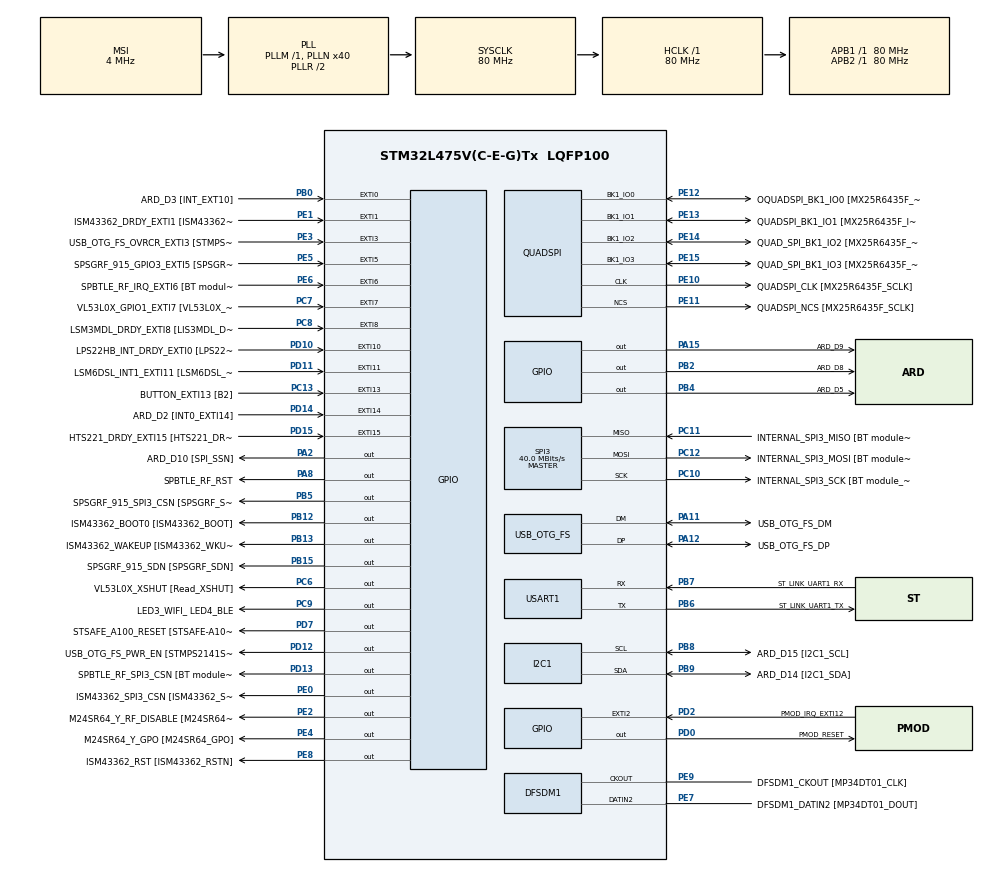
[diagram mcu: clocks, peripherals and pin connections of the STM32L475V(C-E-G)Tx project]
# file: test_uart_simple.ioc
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I2C1.Timing=0x10D19CE4
Mcu.Family=STM32L4
Mcu.Name=STM32L475V(C-E-G)Tx
Mcu.Package=LQFP100
NVIC.EXTI15_10_IRQn=true\:0\:0\:false\:false\:true\:true\:true\:true
NVIC.EXTI9_5_IRQn=true\:0\:0\:false\:false\:true\:true\:true\:true
NVIC.PriorityGroup=NVIC_PRIORITYGROUP_4
PA0.GPIO_Label=ARD_D1 [UART4_TX]
PA0.Signal=UART4_TX
PA1.GPIO_Label=ARD_D0 [UART4_RX]
PA1.Signal=UART4_RX
PA10.GPIO_Label=USB_OTG_FS_ID
PA10.Signal=USB_OTG_FS_ID
PA11.GPIO_Label=USB_OTG_FS_DM
PA11.Mode=Device_Only
PA11.Signal=USB_OTG_FS_DM
PA12.GPIO_Label=USB_OTG_FS_DP
PA12.Mode=Device_Only
PA12.Signal=USB_OTG_FS_DP
PA13\ (JTMS-SWDIO).GPIO_Label=SYS_JTMS_SWDIO
PA13\ (JTMS-SWDIO).Mode=Serial_Wire
PA13\ (JTMS-SWDIO).Signal=SYS_JTMS-SWDIO
PA14\ (JTCK-SWCLK).GPIO_Label=SYS_JTCK_SWCLK
PA14\ (JTCK-SWCLK).Mode=Serial_Wire
PA14\ (JTCK-SWCLK).Signal=SYS_JTCK-SWCLK
PA15\ (JTDI).GPIO_Label=ARD_D9
PA15\ (JTDI).Signal=GPIO_Output
PA2.GPIO_Label=ARD_D10 [SPI_SSN]
PA2.Signal=GPIO_Output
PA3.GPIO_Label=ARD_D4
PA3.Signal=S_TIM2_CH4
PA4.GPIO_Label=ARD_D7
PA4.Signal=ADCx_IN9
PA5.GPIO_Label=ARD_D13 [SPI1_SCK]
PA5.Signal=SPI1_SCK
PA6.GPIO_Label=ARD_D12 [SPI1_MISO]
PA6.Signal=SPI1_MISO
PA7.GPIO_Label=ARD_D11 [SPI1_MOSI]
PA7.Signal=SPI1_MOSI
PA8.GPIO_Label=SPBTLE_RF_RST
PA8.Signal=GPIO_Output
PA9.GPIO_Label=USB_OTG_FS_VBUS [STMPS2141STR_OUT]
PA9.Signal=USB_OTG_FS_VBUS
PB0.GPIO_Label=ARD_D3 [INT_EXT10]
PB0.Signal=GPXTI0
PB1.GPIO_Label=ARD_D6 [ADC1_IN6]
PB1.Signal=ADCx_IN16
PB10.GPIO_Label=INTERNAL_I2C2_SCL [VL53L0X_SCL]
PB10.GPIO_Pu=GPIO_PULLUP
PB10.Signal=I2C2_SCL
PB11.GPIO_Label=INTERNAL_I2C2_SDA [VL53L0X_SDA]
PB11.GPIO_Pu=GPIO_PULLUP
PB11.Signal=I2C2_SDA
PB12.GPIO_Label=ISM43362_BOOT0 [ISM43362_BOOT]
PB12.Signal=GPIO_Output
PB13.GPIO_Label=ISM43362_WAKEUP [ISM43362_WKUP]
PB13.Signal=GPIO_Output
PB15.GPIO_Label=SPSGRF_915_SDN [SPSGRF_SDN]
PB15.Signal=GPIO_Output
PB2.GPIO_Label=ARD_D8
PB2.Signal=GPIO_Output
PB3\ (JTDO-TRACESWO).GPIO_Label=SYS_JTD0_SWO
PB3\ (JTDO-TRACESWO).Signal=SYS_JTDO-SWO
PB4\ (NJTRST).GPIO_Label=ARD_D5
PB4\ (NJTRST).Signal=GPIO_Output
PB5.GPIO_Label=SPSGRF_915_SPI3_CSN [SPSGRF_SPI_CS]
PB5.PinState=GPIO_PIN_SET
PB5.Signal=GPIO_Output
PB6.GPIO_Label=ST_LINK_UART1_TX
PB6.Mode=Asynchronous
PB6.Signal=USART1_TX
PB7.GPIO_Label=ST_LINK_UART1_RX
PB7.Mode=Asynchronous
PB7.Signal=USART1_RX
PB8.GPIO_Label=ARD_D15 [I2C1_SCL]
PB8.Mode=I2C
PB8.Signal=I2C1_SCL
PB9.GPIO_Label=ARD_D14 [I2C1_SDA]
PB9.Mode=I2C
PB9.Signal=I2C1_SDA
PC0.GPIO_Label=ARD_A5 [ADC]
PC0.Signal=ADCx_IN1
PC1.GPIO_Label=ARD_A4 [ADC]
PC1.Signal=ADCx_IN2
PC10.GPIO_Label=INTERNAL_SPI3_SCK [BT module_SPI_SCLK] [ISM43362_SCK]
PC10.Mode=Full_Duplex_Master
PC10.Signal=SPI3_SCK
PC11.GPIO_Label=INTERNAL_SPI3_MISO [BT module_SPI_MISO] [ISM43362_MISO]
PC11.Mode=Full_Duplex_Master
PC11.Signal=SPI3_MISO
PC12.GPIO_Label=INTERNAL_SPI3_MOSI [BT module_SPI_MOSI] [ISM43362_MOSI]
PC12.Mode=Full_Duplex_Master
PC12.Signal=SPI3_MOSI
PC13.GPIO_Label=BUTTON_EXTI13 [B2]
PC13.GPIO_ModeDefaultEXTI=GPIO_MODE_IT_FALLING
PC13.Signal=GPXTI13
PC14-OSC32_IN\ (PC14).Mode=LSE-External-Oscillator
PC14-OSC32_IN\ (PC14).Signal=RCC_OSC32_IN
PC15-OSC32_OUT\ (PC15).Mode=LSE-External-Oscillator
PC15-OSC32_OUT\ (PC15).Signal=RCC_OSC32_OUT
PC2.GPIO_Label=ARD_A3 [ADC]
PC2.Signal=ADCx_IN3
PC3.GPIO_Label=ARD_A2 [ADC]
PC3.Signal=ADCx_IN4
PC4.GPIO_Label=ARD_A1 [ADC]
PC4.Signal=ADCx_IN13
PC5.GPIO_Label=ARD_A0 [ADC]
PC5.Signal=ADCx_IN14
PC6.GPIO_Label=VL53L0X_XSHUT [Read_XSHUT]
PC6.Signal=GPIO_Output
PC7.GPIO_Label=VL53L0X_GPIO1_EXTI7 [VL53L0X_GPIO1]
PC7.Signal=GPXTI7
PC8.GPIO_Label=LSM3MDL_DRDY_EXTI8 [LIS3MDL_DRDY]
PC8.Signal=GPXTI8
PC9.GPIO_Label=LED3_WIFI_ LED4_BLE
PC9.Signal=GPIO_Output
PD0.GPIO_Label=PMOD_RESET
PD0.Signal=GPIO_Output
PD1.GPIO_Label=PMOD_SPI2_SCK
PD1.Signal=SPI2_SCK
PD10.GPIO_Label=LPS22HB_INT_DRDY_EXTI0 [LPS22HB_INT_DRDY] 
PD10.Signal=GPXTI10
PD11.GPIO_Label=LSM6DSL_INT1_EXTI11 [LSM6DSL_INT1]
PD11.Signal=GPXTI11
PD12.GPIO_Label=USB_OTG_FS_PWR_EN [STMPS2141STR_EN]
PD12.Signal=GPIO_Output
PD13.GPIO_Label=SPBTLE_RF_SPI3_CSN [BT module_SPI_CS]
PD13.PinState=GPIO_PIN_SET
PD13.Signal=GPIO_Output
PD14.GPIO_Label=ARD_D2 [INT0_EXTI14]
PD14.Signal=GPXTI14
PD15.GPIO_Label=HTS221_DRDY_EXTI15 [HTS221_DRDY]
PD15.Signal=GPXTI15
PD2.GPIO_Label=PMOD_IRQ_EXTI12
PD2.Signal=GPXTI2
PD3.GPIO_Label=PMOD_UART2_CTS
PD3.Signal=USART2_CTS
PD4.GPIO_Label=PMOD_UART2_RTS
PD4.Signal=USART2_RTS
PD5.GPIO_Label=PMOD_UART2_TX
PD5.Signal=USART2_TX
PD6.GPIO_Label=PMOD_UART2_RX
PD6.Signal=USART2_RX
PD7.GPIO_Label=STSAFE_A100_RESET [STSAFE-A100_RESET]
PD7.Signal=GPIO_Output
PD8.GPIO_Label=INTERNAL_UART3_TX [ISM43362_RX]
PD8.Signal=USART3_TX
PD9.GPIO_Label=INTERNAL_UART3_RX [ISM43362_TX]
PD9.Signal=USART3_RX
PE0.GPIO_Label=ISM43362_SPI3_CSN [ISM43362_SSN]
PE0.PinState=GPIO_PIN_SET
PE0.Signal=GPIO_Output
PE1.GPIO_Label=ISM43362_DRDY_EXTI1 [ISM43362_DATARDY]
PE1.Signal=GPXTI1
PE10.GPIO_Label=QUADSPI_CLK [MX25R6435F_SCLK]
PE10.Mode=Single Bank
PE10.Signal=QUADSPI_CLK
PE11.GPIO_Label=QUADSPI_NCS [MX25R6435F_SCLK]
PE11.Mode=Single Bank
PE11.Signal=QUADSPI_NCS
PE12.GPIO_Label=OQUADSPI_BK1_IO0 [MX25R6435F_IO0]
PE12.Mode=Single Bank
PE12.Signal=QUADSPI_BK1_IO0
PE13.GPIO_Label=QUADSPI_BK1_IO1 [MX25R6435F_IO1]
PE13.Mode=Single Bank
PE13.Signal=QUADSPI_BK1_IO1
PE14.GPIO_Label=QUAD_SPI_BK1_IO2 [MX25R6435F_IO2]
PE14.Mode=Single Bank
PE14.Signal=QUADSPI_BK1_IO2
PE15.GPIO_Label=QUAD_SPI_BK1_IO3 [MX25R6435F_IO3]
PE15.Mode=Single Bank
PE15.Signal=QUADSPI_BK1_IO3
PE2.GPIO_Label=M24SR64_Y_RF_DISABLE [M24SR64_RFDIS]
PE2.Signal=GPIO_Output
PE3.GPIO_Label=USB_OTG_FS_OVRCR_EXTI3 [STMPS2141STR_FAULT]
PE3.Signal=GPXTI3
PE4.GPIO_Label=M24SR64_Y_GPO [M24SR64_GPO]
PE4.Signal=GPIO_Output
PE5.GPIO_Label=SPSGRF_915_GPIO3_EXTI5 [SPSGRF_GPIO_3]
PE5.Signal=GPXTI5
PE6.GPIO_Label=SPBTLE_RF_IRQ_EXTI6 [BT module_SPI_IRQ]
PE6.Signal=GPXTI6
PE7.GPIO_Label=DFSDM1_DATIN2 [MP34DT01_DOUT]
PE7.Signal=S_DATAIN2DFSDM1
PE8.GPIO_Label=ISM43362_RST [ISM43362_RSTN]
PE8.Signal=GPIO_Output
PE9.GPIO_Label=DFSDM1_CKOUT [MP34DT01_CLK]
PE9.Signal=S_CKOUTDFSDM1
ProjectManager.HeapSize=0x200
ProjectManager.StackSize=0x400
ProjectManager.TargetToolchain=STM32CubeIDE
QUADSPI.ClockPrescaler=2
QUADSPI.FifoThreshold=4
QUADSPI.FlashSize=23
QUADSPI.SampleShifting=QSPI_SAMPLE_SHIFTING_HALFCYCLE
RCC.ADCFreq_Value=48000000
RCC.AHBFreq_Value=80000000
RCC.APB1Freq_Value=80000000
RCC.APB1TimFreq_Value=80000000
RCC.APB2Freq_Value=80000000
RCC.APB2TimFreq_Value=80000000
RCC.CortexFreq_Value=80000000
RCC.HCLKFreq_Value=80000000
RCC.HSE_VALUE=8000000
RCC.HSI_VALUE=16000000
RCC.MSI_VALUE=4000000
RCC.PLLN=40
RCC.PLLSAI1N=24
RCC.SYSCLKFreq_VALUE=80000000
RCC.SYSCLKSource=RCC_SYSCLKSOURCE_PLLCLK
RCC.USBFreq_Value=48000000
RCC.VCOOutputFreq_Value=160000000
SH.ADCx_IN1.0=ADC1_IN1
SH.ADCx_IN13.0=ADC1_IN13
SH.ADCx_IN14.0=ADC1_IN14
SH.ADCx_IN16.0=ADC1_IN16
SH.ADCx_IN2.0=ADC1_IN2
SH.ADCx_IN3.0=ADC1_IN3
SH.ADCx_IN4.0=ADC1_IN4
SH.ADCx_IN9.0=ADC1_IN9
SH.S_CKOUTDFSDM1.0=DFSDM1_CKOUT,CKOUT
SH.S_CKOUTDFSDM1.1=DFSDM1_CKOUT,PDM_SPI_Input_from_ch12_and_Internal_Clock
SH.S_DATAIN2DFSDM1.0=DFSDM1_DATIN2,PDM_SPI_Input_from_ch12_and_Internal_Clock
SH.S_TIM2_CH4.0=TIM2_CH4
SPI3.CalculateBaudRate=40.0 MBits/s
SPI3.Direction=SPI_DIRECTION_2LINES
SPI3.Mode=SPI_MODE_MASTER
SPI3.VirtualType=VM_MASTER
USART1.VirtualMode-Asynchronous=VM_ASYNC
USB_OTG_FS.VirtualMode=Device_Only
board=B-L475E-IOT01A2

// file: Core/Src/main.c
/* USER CODE BEGIN Header */
/**
  ******************************************************************************
  * @file           : main.c
  * @brief          : Main program body
  ******************************************************************************
  * @attention
  *
  * Copyright (c) 2026 STMicroelectronics.
  * All rights reserved.
  *
  * This software is licensed under terms that can be found in the LICENSE file
  * in the root directory of this software component.
  * If no LICENSE file comes with this software, it is provided AS-IS.
  *
  ******************************************************************************
  */
/* USER CODE END Header */
#include "main.h"

/* USER CODE BEGIN Includes */
#include <string.h>
#include <stdio.h>

// Drivers des capteurs (à inclure depuis BSP)
#include "stm32l475e_iot01.h"
#include "stm32l475e_iot01_tsensor.h"
#include "stm32l475e_iot01_hsensor.h"
#include "stm32l475e_iot01_psensor.h"
/* USER CODE END Includes */

DFSDM_Channel_HandleTypeDef hdfsdm1_channel1;

I2C_HandleTypeDef hi2c1;

QSPI_HandleTypeDef hqspi;

SPI_HandleTypeDef hspi3;

UART_HandleTypeDef huart1;

PCD_HandleTypeDef hpcd_USB_OTG_FS;

/* USER CODE BEGIN PV */
char uart_buffer[200];
/* USER CODE END PV */

void SystemClock_Config(void);
static void MX_GPIO_Init(void);
static void MX_DFSDM1_Init(void);
static void MX_QUADSPI_Init(void);
static void MX_SPI3_Init(void);
static void MX_USB_OTG_FS_PCD_Init(void);
static void MX_USART1_UART_Init(void);
static void MX_I2C1_Init(void);

/* USER CODE BEGIN 0 */

// Fonction pour rediriger printf vers UART
int _write(int file, char *ptr, int len)
{
    HAL_UART_Transmit(&huart1, (uint8_t*)ptr, len, HAL_MAX_DELAY);
    return len;
}
/* USER CODE END 0 */

int main(void)
{

  /* USER CODE BEGIN 1 */
	  float temperature = 0.0f;
	  float humidity = 0.0f;
	  float pressure = 0.0f;
  /* USER CODE END 1 */

  /* MCU Configuration--------------------------------------------------------*/

  /* Reset of all peripherals, Initializes the Flash interface and the Systick. */
  HAL_Init();

  /* Configure the system clock */
  SystemClock_Config();

  /* Initialize all configured peripherals */
  MX_GPIO_Init();
  MX_DFSDM1_Init();
  MX_QUADSPI_Init();
  MX_SPI3_Init();
  MX_USB_OTG_FS_PCD_Init();
  MX_USART1_UART_Init();
  MX_I2C1_Init();
  /* USER CODE BEGIN 2 */

  // Configuration LED PB14
  GPIO_InitTypeDef GPIO_InitStruct = {0};
  __HAL_RCC_GPIOB_CLK_ENABLE();
  GPIO_InitStruct.Pin = GPIO_PIN_14;
  GPIO_InitStruct.Mode = GPIO_MODE_OUTPUT_PP;
  GPIO_InitStruct.Pull = GPIO_NOPULL;
  GPIO_InitStruct.Speed = GPIO_SPEED_FREQ_LOW;
  HAL_GPIO_Init(GPIOB, &GPIO_InitStruct);

  // Message de test
  char msg[] = "*** STM32 UART TEST - HELLO WORLD ***\r\n";
  HAL_UART_Transmit(&huart1, (uint8_t*)msg, strlen(msg), 1000);

  // Confirmation LED
  for(int i = 0; i < 5; i++) {
      HAL_GPIO_TogglePin(GPIOB, GPIO_PIN_14);
      HAL_Delay(200);
  }
  printf("\r\n\r\n");
  printf("===========================================\r\n");
  printf("  STM32L475E-IOT01A - Lecture des capteurs\r\n");
  printf("===========================================\r\n\r\n");

  // Initialisation des capteurs
  printf("Initialisation des capteurs...\r\n");

  BSP_TSENSOR_Init();
  printf("- Capteur de temperature : OK\r\n");

  BSP_HSENSOR_Init();
  printf("- Capteur d'humidite : OK\r\n");

  BSP_PSENSOR_Init();
  printf("- Capteur de pression : OK\r\n");

  printf("\r\nDemarrage des mesures...\r\n\r\n");
  HAL_Delay(1000);
  /* USER CODE END 2 */

  /* Infinite loop */
  /* USER CODE BEGIN WHILE */

  while (1)
  {
      // LED clignote
      HAL_GPIO_TogglePin(GPIOB, GPIO_PIN_14);
      // Lecture de la température
          temperature = BSP_TSENSOR_ReadTemp();

          // Lecture de l'humidité
          humidity = BSP_HSENSOR_ReadHumidity();

          // Lecture de la pression
          pressure = BSP_PSENSOR_ReadPressure();

          // Affichage formaté sur UART
          printf("┌─────────────────────────────────────┐\r\n");
          printf("│      MESURES DES CAPTEURS           │\r\n");
          printf("├─────────────────────────────────────┤\r\n");
          printf("│ Temperature  : %6.2f °C           │\r\n", temperature);
          printf("│ Humidite     : %6.2f %%            │\r\n", humidity);
          printf("│ Pression     : %7.2f hPa          │\r\n", pressure);
          printf("└─────────────────────────────────────┘\r\n\r\n");

          // Attente de 2 secondes avant la prochaine lecture
          HAL_Delay(2000);
      // Envoi du message
    /*  sprintf(buffer, "Test message #%lu - System running OK\r\n", counter);
      HAL_UART_Transmit(&huart1, (uint8_t*)buffer, strlen(buffer), 1000);

      counter++;
      HAL_Delay(1000);  // 1 seconde entre chaque message*/

    /* USER CODE END WHILE */

  }
}

void SystemClock_Config(void)
{
  RCC_OscInitTypeDef RCC_OscInitStruct = {0};
  RCC_ClkInitTypeDef RCC_ClkInitStruct = {0};

  /** Configure the main internal regulator output voltage
  */
  if (HAL_PWREx_ControlVoltageScaling(PWR_REGULATOR_VOLTAGE_SCALE1) != HAL_OK)
  {
    Error_Handler();
  }

  /** Configure LSE Drive Capability
  */
  HAL_PWR_EnableBkUpAccess();
  __HAL_RCC_LSEDRIVE_CONFIG(RCC_LSEDRIVE_LOW);

  /** Initializes the RCC Oscillators according to the specified parameters
  * in the RCC_OscInitTypeDef structure.
  */
  RCC_OscInitStruct.OscillatorType = RCC_OSCILLATORTYPE_LSE|RCC_OSCILLATORTYPE_MSI;
  RCC_OscInitStruct.LSEState = RCC_LSE_ON;
  RCC_OscInitStruct.MSIState = RCC_MSI_ON;
  RCC_OscInitStruct.MSICalibrationValue = 0;
  RCC_OscInitStruct.MSIClockRange = RCC_MSIRANGE_6;
  RCC_OscInitStruct.PLL.PLLState = RCC_PLL_ON;
  RCC_OscInitStruct.PLL.PLLSource = RCC_PLLSOURCE_MSI;
  RCC_OscInitStruct.PLL.PLLM = 1;
  RCC_OscInitStruct.PLL.PLLN = 40;
  RCC_OscInitStruct.PLL.PLLP = RCC_PLLP_DIV7;
  RCC_OscInitStruct.PLL.PLLQ = RCC_PLLQ_DIV2;
  RCC_OscInitStruct.PLL.PLLR = RCC_PLLR_DIV2;
  if (HAL_RCC_OscConfig(&RCC_OscInitStruct) != HAL_OK)
  {
    Error_Handler();
  }

  /** Initializes the CPU, AHB and APB buses clocks
  */
  RCC_ClkInitStruct.ClockType = RCC_CLOCKTYPE_HCLK|RCC_CLOCKTYPE_SYSCLK
                              |RCC_CLOCKTYPE_PCLK1|RCC_CLOCKTYPE_PCLK2;
  RCC_ClkInitStruct.SYSCLKSource = RCC_SYSCLKSOURCE_PLLCLK;
  RCC_ClkInitStruct.AHBCLKDivider = RCC_SYSCLK_DIV1;
  RCC_ClkInitStruct.APB1CLKDivider = RCC_HCLK_DIV1;
  RCC_ClkInitStruct.APB2CLKDivider = RCC_HCLK_DIV1;

  if (HAL_RCC_ClockConfig(&RCC_ClkInitStruct, FLASH_LATENCY_4) != HAL_OK)
  {
    Error_Handler();
  }

  /** Enable MSI Auto calibration
  */
  HAL_RCCEx_EnableMSIPLLMode();
}

static void MX_DFSDM1_Init(void)
{

  hdfsdm1_channel1.Instance = DFSDM1_Channel1;
  hdfsdm1_channel1.Init.OutputClock.Activation = ENABLE;
  hdfsdm1_channel1.Init.OutputClock.Selection = DFSDM_CHANNEL_OUTPUT_CLOCK_SYSTEM;
  hdfsdm1_channel1.Init.OutputClock.Divider = 2;
  hdfsdm1_channel1.Init.Input.Multiplexer = DFSDM_CHANNEL_EXTERNAL_INPUTS;
  hdfsdm1_channel1.Init.Input.DataPacking = DFSDM_CHANNEL_STANDARD_MODE;
  hdfsdm1_channel1.Init.Input.Pins = DFSDM_CHANNEL_FOLLOWING_CHANNEL_PINS;
  hdfsdm1_channel1.Init.SerialInterface.Type = DFSDM_CHANNEL_SPI_RISING;
  hdfsdm1_channel1.Init.SerialInterface.SpiClock = DFSDM_CHANNEL_SPI_CLOCK_INTERNAL;
  hdfsdm1_channel1.Init.Awd.FilterOrder = DFSDM_CHANNEL_FASTSINC_ORDER;
  hdfsdm1_channel1.Init.Awd.Oversampling = 1;
  hdfsdm1_channel1.Init.Offset = 0;
  hdfsdm1_channel1.Init.RightBitShift = 0x00;
  if (HAL_DFSDM_ChannelInit(&hdfsdm1_channel1) != HAL_OK)
  {
    Error_Handler();
  }

}

static void MX_I2C1_Init(void)
{

  hi2c1.Instance = I2C1;
  hi2c1.Init.Timing = 0x10D19CE4;
  hi2c1.Init.OwnAddress1 = 0;
  hi2c1.Init.AddressingMode = I2C_ADDRESSINGMODE_7BIT;
  hi2c1.Init.DualAddressMode = I2C_DUALADDRESS_DISABLE;
  hi2c1.Init.OwnAddress2 = 0;
  hi2c1.Init.OwnAddress2Masks = I2C_OA2_NOMASK;
  hi2c1.Init.GeneralCallMode = I2C_GENERALCALL_DISABLE;
  hi2c1.Init.NoStretchMode = I2C_NOSTRETCH_DISABLE;
  if (HAL_I2C_Init(&hi2c1) != HAL_OK)
  {
    Error_Handler();
  }

  /** Configure Analogue filter
  */
  if (HAL_I2CEx_ConfigAnalogFilter(&hi2c1, I2C_ANALOGFILTER_ENABLE) != HAL_OK)
  {
    Error_Handler();
  }

  /** Configure Digital filter
  */
  if (HAL_I2CEx_ConfigDigitalFilter(&hi2c1, 0) != HAL_OK)
  {
    Error_Handler();
  }

}

static void MX_QUADSPI_Init(void)
{

  /* QUADSPI parameter configuration*/
  hqspi.Instance = QUADSPI;
  hqspi.Init.ClockPrescaler = 2;
  hqspi.Init.FifoThreshold = 4;
  hqspi.Init.SampleShifting = QSPI_SAMPLE_SHIFTING_HALFCYCLE;
  hqspi.Init.FlashSize = 23;
  hqspi.Init.ChipSelectHighTime = QSPI_CS_HIGH_TIME_1_CYCLE;
  hqspi.Init.ClockMode = QSPI_CLOCK_MODE_0;
  if (HAL_QSPI_Init(&hqspi) != HAL_OK)
  {
    Error_Handler();
  }

}

static void MX_SPI3_Init(void)
{

  /* SPI3 parameter configuration*/
  hspi3.Instance = SPI3;
  hspi3.Init.Mode = SPI_MODE_MASTER;
  hspi3.Init.Direction = SPI_DIRECTION_2LINES;
  hspi3.Init.DataSize = SPI_DATASIZE_4BIT;
  hspi3.Init.CLKPolarity = SPI_POLARITY_LOW;
  hspi3.Init.CLKPhase = SPI_PHASE_1EDGE;
  hspi3.Init.NSS = SPI_NSS_SOFT;
  hspi3.Init.BaudRatePrescaler = SPI_BAUDRATEPRESCALER_2;
  hspi3.Init.FirstBit = SPI_FIRSTBIT_MSB;
  hspi3.Init.TIMode = SPI_TIMODE_DISABLE;
  hspi3.Init.CRCCalculation = SPI_CRCCALCULATION_DISABLE;
  hspi3.Init.CRCPolynomial = 7;
  hspi3.Init.CRCLength = SPI_CRC_LENGTH_DATASIZE;
  hspi3.Init.NSSPMode = SPI_NSS_PULSE_ENABLE;
  if (HAL_SPI_Init(&hspi3) != HAL_OK)
  {
    Error_Handler();
  }

}

static void MX_USART1_UART_Init(void)
{

  huart1.Instance = USART1;
  huart1.Init.BaudRate = 115200;
  huart1.Init.WordLength = UART_WORDLENGTH_8B;
  huart1.Init.StopBits = UART_STOPBITS_1;
  huart1.Init.Parity = UART_PARITY_NONE;
  huart1.Init.Mode = UART_MODE_TX_RX;
  huart1.Init.HwFlowCtl = UART_HWCONTROL_NONE;
  huart1.Init.OverSampling = UART_OVERSAMPLING_16;
  huart1.Init.OneBitSampling = UART_ONE_BIT_SAMPLE_DISABLE;
  huart1.AdvancedInit.AdvFeatureInit = UART_ADVFEATURE_NO_INIT;
  if (HAL_UART_Init(&huart1) != HAL_OK)
  {
    Error_Handler();
  }

}

static void MX_USB_OTG_FS_PCD_Init(void)
{

  hpcd_USB_OTG_FS.Instance = USB_OTG_FS;
  hpcd_USB_OTG_FS.Init.dev_endpoints = 6;
  hpcd_USB_OTG_FS.Init.speed = PCD_SPEED_FULL;
  hpcd_USB_OTG_FS.Init.phy_itface = PCD_PHY_EMBEDDED;
  hpcd_USB_OTG_FS.Init.Sof_enable = DISABLE;
  hpcd_USB_OTG_FS.Init.low_power_enable = DISABLE;
  hpcd_USB_OTG_FS.Init.lpm_enable = DISABLE;
  hpcd_USB_OTG_FS.Init.battery_charging_enable = DISABLE;
  hpcd_USB_OTG_FS.Init.use_dedicated_ep1 = DISABLE;
  hpcd_USB_OTG_FS.Init.vbus_sensing_enable = DISABLE;
  if (HAL_PCD_Init(&hpcd_USB_OTG_FS) != HAL_OK)
  {
    Error_Handler();
  }

}

static void MX_GPIO_Init(void)
{
  GPIO_InitTypeDef GPIO_InitStruct = {0};

  /* GPIO Ports Clock Enable */
  __HAL_RCC_GPIOE_CLK_ENABLE();
  __HAL_RCC_GPIOC_CLK_ENABLE();
  __HAL_RCC_GPIOA_CLK_ENABLE();
  __HAL_RCC_GPIOB_CLK_ENABLE();
  __HAL_RCC_GPIOD_CLK_ENABLE();

  /*Configure GPIO pin Output Level */
  HAL_GPIO_WritePin(GPIOE, M24SR64_Y_RF_DISABLE_Pin|M24SR64_Y_GPO_Pin|ISM43362_RST_Pin, GPIO_PIN_RESET);

  /*Configure GPIO pin Output Level */
  HAL_GPIO_WritePin(GPIOA, ARD_D10_Pin|SPBTLE_RF_RST_Pin|ARD_D9_Pin, GPIO_PIN_RESET);

  /*Configure GPIO pin Output Level */
  HAL_GPIO_WritePin(GPIOB, ARD_D8_Pin|ISM43362_BOOT0_Pin|ISM43362_WAKEUP_Pin|SPSGRF_915_SDN_Pin
                          |ARD_D5_Pin, GPIO_PIN_RESET);

  /*Configure GPIO pin Output Level */
  HAL_GPIO_WritePin(GPIOD, USB_OTG_FS_PWR_EN_Pin|PMOD_RESET_Pin|STSAFE_A100_RESET_Pin, GPIO_PIN_RESET);

  /*Configure GPIO pin Output Level */
  HAL_GPIO_WritePin(SPBTLE_RF_SPI3_CSN_GPIO_Port, SPBTLE_RF_SPI3_CSN_Pin, GPIO_PIN_SET);

  /*Configure GPIO pin Output Level */
  HAL_GPIO_WritePin(GPIOC, VL53L0X_XSHUT_Pin|LED3_WIFI__LED4_BLE_Pin, GPIO_PIN_RESET);

  /*Configure GPIO pin Output Level */
  HAL_GPIO_WritePin(SPSGRF_915_SPI3_CSN_GPIO_Port, SPSGRF_915_SPI3_CSN_Pin, GPIO_PIN_SET);

  /*Configure GPIO pin Output Level */
  HAL_GPIO_WritePin(ISM43362_SPI3_CSN_GPIO_Port, ISM43362_SPI3_CSN_Pin, GPIO_PIN_SET);

  /*Configure GPIO pins : M24SR64_Y_RF_DISABLE_Pin M24SR64_Y_GPO_Pin ISM43362_RST_Pin ISM43362_SPI3_CSN_Pin */
  GPIO_InitStruct.Pin = M24SR64_Y_RF_DISABLE_Pin|M24SR64_Y_GPO_Pin|ISM43362_RST_Pin|ISM43362_SPI3_CSN_Pin;
  GPIO_InitStruct.Mode = GPIO_MODE_OUTPUT_PP;
  GPIO_InitStruct.Pull = GPIO_NOPULL;
  GPIO_InitStruct.Speed = GPIO_SPEED_FREQ_LOW;
  HAL_GPIO_Init(GPIOE, &GPIO_InitStruct);

  /*Configure GPIO pins : USB_OTG_FS_OVRCR_EXTI3_Pin SPSGRF_915_GPIO3_EXTI5_Pin SPBTLE_RF_IRQ_EXTI6_Pin ISM43362_DRDY_EXTI1_Pin */
  GPIO_InitStruct.Pin = USB_OTG_FS_OVRCR_EXTI3_Pin|SPSGRF_915_GPIO3_EXTI5_Pin|SPBTLE_RF_IRQ_EXTI6_Pin|ISM43362_DRDY_EXTI1_Pin;
  GPIO_InitStruct.Mode = GPIO_MODE_IT_RISING;
  GPIO_InitStruct.Pull = GPIO_NOPULL;
  HAL_GPIO_Init(GPIOE, &GPIO_InitStruct);

  /*Configure GPIO pin : BUTTON_EXTI13_Pin */
  GPIO_InitStruct.Pin = BUTTON_EXTI13_Pin;
  GPIO_InitStruct.Mode = GPIO_MODE_IT_FALLING;
  GPIO_InitStruct.Pull = GPIO_NOPULL;
  HAL_GPIO_Init(BUTTON_EXTI13_GPIO_Port, &GPIO_InitStruct);

  /*Configure GPIO pins : ARD_A5_Pin ARD_A4_Pin ARD_A3_Pin ARD_A2_Pin
                           ARD_A1_Pin ARD_A0_Pin */
  GPIO_InitStruct.Pin = ARD_A5_Pin|ARD_A4_Pin|ARD_A3_Pin|ARD_A2_Pin
                          |ARD_A1_Pin|ARD_A0_Pin;
  GPIO_InitStruct.Mode = GPIO_MODE_ANALOG_ADC_CONTROL;
  GPIO_InitStruct.Pull = GPIO_NOPULL;
  HAL_GPIO_Init(GPIOC, &GPIO_InitStruct);

  /*Configure GPIO pins : ARD_D1_Pin ARD_D0_Pin */
  GPIO_InitStruct.Pin = ARD_D1_Pin|ARD_D0_Pin;
  GPIO_InitStruct.Mode = GPIO_MODE_AF_PP;
  GPIO_InitStruct.Pull = GPIO_NOPULL;
  GPIO_InitStruct.Speed = GPIO_SPEED_FREQ_VERY_HIGH;
  GPIO_InitStruct.Alternate = GPIO_AF8_UART4;
  HAL_GPIO_Init(GPIOA, &GPIO_InitStruct);

  /*Configure GPIO pins : ARD_D10_Pin SPBTLE_RF_RST_Pin ARD_D9_Pin */
  GPIO_InitStruct.Pin = ARD_D10_Pin|SPBTLE_RF_RST_Pin|ARD_D9_Pin;
  GPIO_InitStruct.Mode = GPIO_MODE_OUTPUT_PP;
  GPIO_InitStruct.Pull = GPIO_NOPULL;
  GPIO_InitStruct.Speed = GPIO_SPEED_FREQ_LOW;
  HAL_GPIO_Init(GPIOA, &GPIO_InitStruct);

  /*Configure GPIO pin : ARD_D4_Pin */
  GPIO_InitStruct.Pin = ARD_D4_Pin;
  GPIO_InitStruct.Mode = GPIO_MODE_AF_PP;
  GPIO_InitStruct.Pull = GPIO_NOPULL;
  GPIO_InitStruct.Speed = GPIO_SPEED_FREQ_LOW;
  GPIO_InitStruct.Alternate = GPIO_AF1_TIM2;
  HAL_GPIO_Init(ARD_D4_GPIO_Port, &GPIO_InitStruct);

  /*Configure GPIO pin : ARD_D7_Pin */
  GPIO_InitStruct.Pin = ARD_D7_Pin;
  GPIO_InitStruct.Mode = GPIO_MODE_ANALOG_ADC_CONTROL;
  GPIO_InitStruct.Pull = GPIO_NOPULL;
  HAL_GPIO_Init(ARD_D7_GPIO_Port, &GPIO_InitStruct);

  /*Configure GPIO pins : ARD_D13_Pin ARD_D12_Pin ARD_D11_Pin */
  GPIO_InitStruct.Pin = ARD_D13_Pin|ARD_D12_Pin|ARD_D11_Pin;
  GPIO_InitStruct.Mode = GPIO_MODE_AF_PP;
  GPIO_InitStruct.Pull = GPIO_NOPULL;
  GPIO_InitStruct.Speed = GPIO_SPEED_FREQ_VERY_HIGH;
  GPIO_InitStruct.Alternate = GPIO_AF5_SPI1;
  HAL_GPIO_Init(GPIOA, &GPIO_InitStruct);

  /*Configure GPIO pin : ARD_D3_Pin */
  GPIO_InitStruct.Pin = ARD_D3_Pin;
  GPIO_InitStruct.Mode = GPIO_MODE_IT_RISING;
  GPIO_InitStruct.Pull = GPIO_NOPULL;
  HAL_GPIO_Init(ARD_D3_GPIO_Port, &GPIO_InitStruct);

  /*Configure GPIO pin : ARD_D6_Pin */
  GPIO_InitStruct.Pin = ARD_D6_Pin;
  GPIO_InitStruct.Mode = GPIO_MODE_ANALOG_ADC_CONTROL;
  GPIO_InitStruct.Pull = GPIO_NOPULL;
  HAL_GPIO_Init(ARD_D6_GPIO_Port, &GPIO_InitStruct);

  /*Configure GPIO pins : ARD_D8_Pin ISM43362_BOOT0_Pin ISM43362_WAKEUP_Pin SPSGRF_915_SDN_Pin
                           ARD_D5_Pin SPSGRF_915_SPI3_CSN_Pin */
  GPIO_InitStruct.Pin = ARD_D8_Pin|ISM43362_BOOT0_Pin|ISM43362_WAKEUP_Pin|SPSGRF_915_SDN_Pin
                          |ARD_D5_Pin|SPSGRF_915_SPI3_CSN_Pin;
  GPIO_InitStruct.Mode = GPIO_MODE_OUTPUT_PP;
  GPIO_InitStruct.Pull = GPIO_NOPULL;
  GPIO_InitStruct.Speed = GPIO_SPEED_FREQ_LOW;
  HAL_GPIO_Init(GPIOB, &GPIO_InitStruct);

  /*Configure GPIO pins : INTERNAL_I2C2_SCL_Pin INTERNAL_I2C2_SDA_Pin */
  GPIO_InitStruct.Pin = INTERNAL_I2C2_SCL_Pin|INTERNAL_I2C2_SDA_Pin;
  GPIO_InitStruct.Mode = GPIO_MODE_AF_OD;
  GPIO_InitStruct.Pull = GPIO_PULLUP;
  GPIO_InitStruct.Speed = GPIO_SPEED_FREQ_VERY_HIGH;
  GPIO_InitStruct.Alternate = GPIO_AF4_I2C2;
  HAL_GPIO_Init(GPIOB, &GPIO_InitStruct);

  /*Configure GPIO pins : INTERNAL_UART3_TX_Pin INTERNAL_UART3_RX_Pin */
  GPIO_InitStruct.Pin = INTERNAL_UART3_TX_Pin|INTERNAL_UART3_RX_Pin;
  GPIO_InitStruct.Mode = GPIO_MODE_AF_PP;
  GPIO_InitStruct.Pull = GPIO_NOPULL;
  GPIO_InitStruct.Speed = GPIO_SPEED_FREQ_VERY_HIGH;
  GPIO_InitStruct.Alternate = GPIO_AF7_USART3;
  HAL_GPIO_Init(GPIOD, &GPIO_InitStruct);

  /*Configure GPIO pins : LPS22HB_INT_DRDY_EXTI0_Pin LSM6DSL_INT1_EXTI11_Pin ARD_D2_Pin HTS221_DRDY_EXTI15_Pin
                           PMOD_IRQ_EXTI12_Pin */
  GPIO_InitStruct.Pin = LPS22HB_INT_DRDY_EXTI0_Pin|LSM6DSL_INT1_EXTI11_Pin|ARD_D2_Pin|HTS221_DRDY_EXTI15_Pin
                          |PMOD_IRQ_EXTI12_Pin;
  GPIO_InitStruct.Mode = GPIO_MODE_IT_RISING;
  GPIO_InitStruct.Pull = GPIO_NOPULL;
  HAL_GPIO_Init(GPIOD, &GPIO_InitStruct);

  /*Configure GPIO pins : USB_OTG_FS_PWR_EN_Pin SPBTLE_RF_SPI3_CSN_Pin PMOD_RESET_Pin STSAFE_A100_RESET_Pin */
  GPIO_InitStruct.Pin = USB_OTG_FS_PWR_EN_Pin|SPBTLE_RF_SPI3_CSN_Pin|PMOD_RESET_Pin|STSAFE_A100_RESET_Pin;
  GPIO_InitStruct.Mode = GPIO_MODE_OUTPUT_PP;
  GPIO_InitStruct.Pull = GPIO_NOPULL;
  GPIO_InitStruct.Speed = GPIO_SPEED_FREQ_LOW;
  HAL_GPIO_Init(GPIOD, &GPIO_InitStruct);

  /*Configure GPIO pins : VL53L0X_XSHUT_Pin LED3_WIFI__LED4_BLE_Pin */
  GPIO_InitStruct.Pin = VL53L0X_XSHUT_Pin|LED3_WIFI__LED4_BLE_Pin;
  GPIO_InitStruct.Mode = GPIO_MODE_OUTPUT_PP;
  GPIO_InitStruct.Pull = GPIO_NOPULL;
  GPIO_InitStruct.Speed = GPIO_SPEED_FREQ_LOW;
  HAL_GPIO_Init(GPIOC, &GPIO_InitStruct);

  /*Configure GPIO pins : VL53L0X_GPIO1_EXTI7_Pin LSM3MDL_DRDY_EXTI8_Pin */
  GPIO_InitStruct.Pin = VL53L0X_GPIO1_EXTI7_Pin|LSM3MDL_DRDY_EXTI8_Pin;
  GPIO_InitStruct.Mode = GPIO_MODE_IT_RISING;
  GPIO_InitStruct.Pull = GPIO_NOPULL;
  HAL_GPIO_Init(GPIOC, &GPIO_InitStruct);

  /*Configure GPIO pin : PMOD_SPI2_SCK_Pin */
  GPIO_InitStruct.Pin = PMOD_SPI2_SCK_Pin;
  GPIO_InitStruct.Mode = GPIO_MODE_AF_PP;
  GPIO_InitStruct.Pull = GPIO_NOPULL;
  GPIO_InitStruct.Speed = GPIO_SPEED_FREQ_VERY_HIGH;
  GPIO_InitStruct.Alternate = GPIO_AF5_SPI2;
  HAL_GPIO_Init(PMOD_SPI2_SCK_GPIO_Port, &GPIO_InitStruct);

  /*Configure GPIO pins : PMOD_UART2_CTS_Pin PMOD_UART2_RTS_Pin PMOD_UART2_TX_Pin PMOD_UART2_RX_Pin */
  GPIO_InitStruct.Pin = PMOD_UART2_CTS_Pin|PMOD_UART2_RTS_Pin|PMOD_UART2_TX_Pin|PMOD_UART2_RX_Pin;
  GPIO_InitStruct.Mode = GPIO_MODE_AF_PP;
  GPIO_InitStruct.Pull = GPIO_NOPULL;
  GPIO_InitStruct.Speed = GPIO_SPEED_FREQ_VERY_HIGH;
  GPIO_InitStruct.Alternate = GPIO_AF7_USART2;
  HAL_GPIO_Init(GPIOD, &GPIO_InitStruct);

  /* EXTI interrupt init*/
  HAL_NVIC_SetPriority(EXTI9_5_IRQn, 0, 0);
  HAL_NVIC_EnableIRQ(EXTI9_5_IRQn);

  HAL_NVIC_SetPriority(EXTI15_10_IRQn, 0, 0);
  HAL_NVIC_EnableIRQ(EXTI15_10_IRQn);

}

void Error_Handler(void)
{
  __disable_irq();
  while (1)
  {
  }
}
